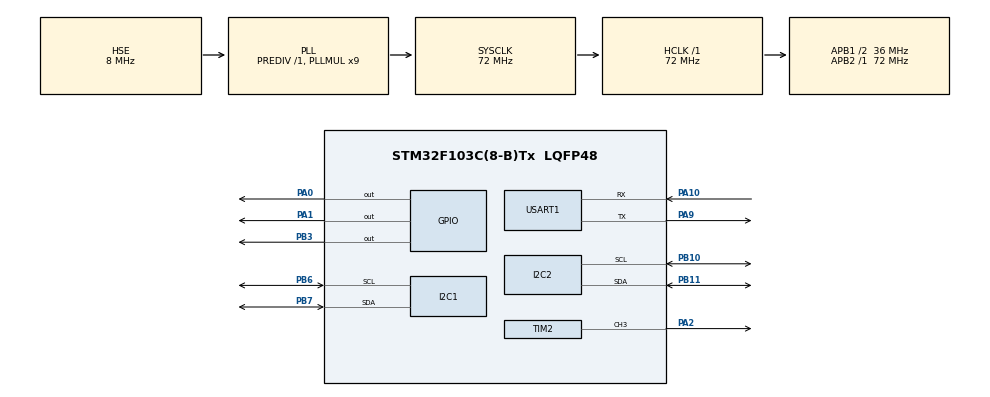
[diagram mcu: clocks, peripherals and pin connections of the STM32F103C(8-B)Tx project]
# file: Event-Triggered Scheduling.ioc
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I2C2.I2C_Mode=I2C_Fast
Mcu.Family=STM32F1
Mcu.Name=STM32F103C(8-B)Tx
Mcu.Package=LQFP48
NVIC.PriorityGroup=NVIC_PRIORITYGROUP_4
NVIC.TIM1_UP_IRQn=true\:0\:0\:false\:false\:true\:true\:true\:true
NVIC.USART1_IRQn=true\:0\:0\:false\:false\:true\:true\:true\:true
PA0-WKUP.Signal=GPIO_Output
PA1.Signal=GPIO_Output
PA10.Mode=Asynchronous
PA10.Signal=USART1_RX
PA13.Mode=Serial_Wire
PA13.Signal=SYS_JTMS-SWDIO
PA14.Mode=Serial_Wire
PA14.Signal=SYS_JTCK-SWCLK
PA2.Signal=S_TIM2_CH3
PA9.Mode=Asynchronous
PA9.Signal=USART1_TX
PB10.Mode=I2C
PB10.Signal=I2C2_SCL
PB11.Mode=I2C
PB11.Signal=I2C2_SDA
PB3.GPIO_PuPd=GPIO_PULLUP
PB3.Signal=GPIO_Output
PB6.Mode=I2C
PB6.Signal=I2C1_SCL
PB7.Mode=I2C
PB7.Signal=I2C1_SDA
PD0-OSC_IN.Mode=HSE-External-Oscillator
PD0-OSC_IN.Signal=RCC_OSC_IN
PD1-OSC_OUT.Mode=HSE-External-Oscillator
PD1-OSC_OUT.Signal=RCC_OSC_OUT
ProjectManager.HeapSize=0x200
ProjectManager.StackSize=0x400
ProjectManager.TargetToolchain=STM32CubeIDE
RCC.AHBFreq_Value=72000000
RCC.APB1CLKDivider=RCC_HCLK_DIV2
RCC.APB1Freq_Value=36000000
RCC.APB1TimFreq_Value=72000000
RCC.APB2Freq_Value=72000000
RCC.APB2TimFreq_Value=72000000
RCC.HCLKFreq_Value=72000000
RCC.PLLMUL=RCC_PLL_MUL9
RCC.PLLSourceVirtual=RCC_PLLSOURCE_HSE
RCC.SYSCLKFreq_VALUE=72000000
RCC.SYSCLKSource=RCC_SYSCLKSOURCE_PLLCLK
RCC.USBFreq_Value=72000000
SH.S_TIM2_CH3.0=TIM2_CH3,PWM Generation3 CH3
TIM1.Period=9
TIM1.Prescaler=7199
TIM2.Channel-PWM\ Generation3\ CH3=TIM_CHANNEL_3
TIM2.Period=100
TIM2.Prescaler=72-1
USART1.VirtualMode=VM_ASYNC
VP_TIM1_VS_ClockSourceINT.Mode=Internal
board=custom

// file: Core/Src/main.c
/* USER CODE BEGIN Header */
/**
  ******************************************************************************
  * @file           : main.c
  * @brief          : Main program body
  ******************************************************************************
  * @attention
  *
  * Copyright (c) 2025 STMicroelectronics.
  * All rights reserved.
  *
  * This software is licensed under terms that can be found in the LICENSE file
  * in the root directory of this software component.
  * If no LICENSE file comes with this software, it is provided AS-IS.
  *
  ******************************************************************************
  */
/* USER CODE END Header */
#include "main.h"

/* USER CODE BEGIN Includes */
#include "string.h"
#include "stdio.h"
#include "stdlib.h"
#include "i2c_lcd.h"
#include "aht10.h"
/* USER CODE END Includes */

I2C_HandleTypeDef hi2c1;
I2C_HandleTypeDef hi2c2;

TIM_HandleTypeDef htim1;
TIM_HandleTypeDef htim2;

UART_HandleTypeDef huart1;

/* USER CODE BEGIN PV */
AHT10_HandleTypeDef aht10;
I2C_LCD_HandleTypeDef lcd;

char command_buffer[64];
volatile uint8_t command_ready = 0;
uint8_t rx_byte;  // byte nhận qua UART

// Motor control
//Biến toàn cục lưu trạng thái điều khiển
typedef enum { OFF = 0, ON = 1 } MotorPower;
typedef enum { CW = 0, CCW = 1 } MotorDirection;
typedef enum { DISPLAY_ALL, DISPLAY_TEMP, DISPLAY_HUMID } DisplayMode;

volatile MotorPower motor_power = OFF;
volatile MotorDirection motor_dir = CW;
volatile uint8_t motor_speed = 0;
volatile DisplayMode display_mode = DISPLAY_ALL;

float temperature = 0.0f;
float humidity = 0.0f;

// biến cho event triggered scheduling
volatile uint8_t uart_event = 0;
volatile uint8_t sensor_event = 0;
volatile uint8_t lcd_event = 0;
volatile uint8_t uart_tx_event = 0;
volatile uint8_t motor_event = 0;
volatile uint32_t ms_ticks = 0;
/* USER CODE END PV */

void SystemClock_Config(void);
static void MX_GPIO_Init(void);
static void MX_I2C1_Init(void);
static void MX_I2C2_Init(void);
static void MX_TIM2_Init(void);
static void MX_USART1_UART_Init(void);
static void MX_TIM1_Init(void);
/* USER CODE BEGIN PFP */
//Xử lí lệnh UART
void parse_command(char *cmd) {
	if (strncmp(cmd, "!motor ", 7) == 0) {
		if (strstr(cmd, "on"))
			motor_power = ON;
		else if (strstr(cmd, "off"))
			motor_power = OFF;
	} else if (strncmp(cmd, "!rotate ", 8) == 0) {
		if (strstr(cmd, "ccw"))
			motor_dir = CCW;
		else if (strstr(cmd, "cw"))
			motor_dir = CW;
	} else if (strncmp(cmd, "!speed ", 7) == 0) {
		int val = atoi(&cmd[7]);
		if (val >= 0 && val <= 100)
			motor_speed = val;
	} else if (strncmp(command_buffer, "!display ", 9) == 0) {
		if (strstr(command_buffer, "all"))
			display_mode = DISPLAY_ALL;
		else if (strstr(command_buffer, "temp"))
			display_mode = DISPLAY_TEMP;
		else if (strstr(command_buffer, "humid"))
			display_mode = DISPLAY_HUMID;
	}

	// Phản hồi trạng thái
	char msg[64];
	sprintf(msg, "Motor: %s, Dir: %s, Speed: %d, Display: %s\r\n",
			(motor_power == ON) ? "ON" : "OFF",
			(motor_dir == CW) ? "CW" : "CCW", motor_speed,
			(display_mode == DISPLAY_ALL) ? "ALL" :
			(display_mode == DISPLAY_TEMP) ? "TEMP" : "HUMID");

	HAL_UART_Transmit(&huart1, (uint8_t*) msg, strlen(msg), 100);

	memset(command_buffer, 0, sizeof(command_buffer));
}

//Task 1: đọc cảm biến AHT10
void task_sensor(void) {
    uint32_t hum_raw = 0, temp_raw = 0;
    if (AHT10_ReadRaw(&aht10, &hum_raw, &temp_raw)) {
        temperature = AHT10_ReadTemperature(temp_raw);
        humidity = AHT10_ReadHumidity(hum_raw);
    }
}

//Task 2: hiển thị LCD
void task_lcd(void) {
	char lcd_buf[32];
	int ti = (int)temperature;
	int tf = (int)((temperature - ti) * 10);
	int hi = (int)humidity;
	int hf = (int)((humidity - hi) * 10);

	switch (display_mode) {
	case DISPLAY_ALL:
		sprintf(lcd_buf, "Temp: %d.%d C", ti, tf);
		lcd_gotoxy(&lcd, 0, 0);
		lcd_puts(&lcd, lcd_buf);

		sprintf(lcd_buf, "Hum:  %d.%d %%", hi, hf);
		lcd_gotoxy(&lcd, 0, 1);
		lcd_puts(&lcd, lcd_buf);
		break;

	case DISPLAY_TEMP:
		sprintf(lcd_buf, "Temp: %d.%d C", ti, tf);
		lcd_gotoxy(&lcd, 0, 0);
		lcd_puts(&lcd, lcd_buf);

		lcd_gotoxy(&lcd, 0, 1);
		lcd_puts(&lcd, "                "); // Clear dòng 2
		break;

	case DISPLAY_HUMID:
		sprintf(lcd_buf, "Hum:  %d.%d %%", hi, hf);
		lcd_gotoxy(&lcd, 0, 0);
		lcd_puts(&lcd, lcd_buf);

		lcd_gotoxy(&lcd, 0, 1);
		lcd_puts(&lcd, "                "); // Clear dòng 2
		break;
	}
}

//Task 3: gửi UART
void task_uart_tx(void) {
    char buf[64];
    sprintf(buf, "temperature: %.1f C, humidity: %.1f %%\r\n", temperature, humidity);
    HAL_UART_Transmit(&huart1, (uint8_t*)buf, strlen(buf), 100);
}

//Task 4: điều khiển động cơ
void task_motor(void) {
    if (motor_power == ON) {
        // Điều chỉnh chiều quay
        if (motor_dir == CW) {
            HAL_GPIO_WritePin(GPIOA, GPIO_PIN_0, GPIO_PIN_SET);   // IN1
            HAL_GPIO_WritePin(GPIOA, GPIO_PIN_1, GPIO_PIN_RESET); // IN2
        } else {
            HAL_GPIO_WritePin(GPIOA, GPIO_PIN_0, GPIO_PIN_RESET);
            HAL_GPIO_WritePin(GPIOA, GPIO_PIN_1, GPIO_PIN_SET);
        }

        HAL_TIM_PWM_Start(&htim2, TIM_CHANNEL_3);
        // Tốc độ: từ 0 đến 100
        __HAL_TIM_SET_COMPARE(&htim2, TIM_CHANNEL_3, motor_speed);
    } else {
        // Dừng động cơ
        __HAL_TIM_SET_COMPARE(&htim2, TIM_CHANNEL_3, 0);
    }
}

// Hàm systick
void HAL_TIM_PeriodElapsedCallback(TIM_HandleTypeDef *htim)
{
    if (htim->Instance == TIM1)
    {
    	HAL_GPIO_TogglePin(GPIOB, GPIO_PIN_3);
        ms_ticks ++;

        if (ms_ticks % 2000 == 0) sensor_event = 1;
        if (ms_ticks % 500 == 0)  lcd_event = 1;
        if (ms_ticks % 5000 == 0) uart_tx_event = 1;
        if (ms_ticks % 100 == 0)  motor_event = 1;

        if (ms_ticks >= 10000) ms_ticks = 0;  // Reset sau mỗi 10s để tránh tràn số
    }
}
/* USER CODE END PFP */

int main(void)
{

  /* MCU Configuration--------------------------------------------------------*/

  /* Reset of all peripherals, Initializes the Flash interface and the Systick. */
  HAL_Init();

  /* Configure the system clock */
  SystemClock_Config();

  /* Initialize all configured peripherals */
  MX_GPIO_Init();
  MX_I2C1_Init();
  MX_I2C2_Init();
  MX_TIM2_Init();
  MX_USART1_UART_Init();
  MX_TIM1_Init();
  /* USER CODE BEGIN 2 */
  //Khởi tạo uart nhận 1 byte
  	HAL_UART_Receive_IT(&huart1, &rx_byte, 1);

  	//Khởi tạo timmer2 CH3
  	HAL_TIM_PWM_Start(&htim2, TIM_CHANNEL_3);

  	HAL_TIM_Base_Start_IT(&htim1);  // Bắt đầu timer với ngắt

  	//Init LCD
  	lcd.hi2c = &hi2c1;
  	lcd.address = 0x4E;
  	lcd_init(&lcd);
  	lcd_clear(&lcd);

  	//Init AHT10
  	aht10.hi2c = &hi2c2;
  	aht10.address = 0x38 << 1; //AHT10 default address << 1 = 0x38 << 1 = 0x70
  	AHT10_Init(&aht10);
  	HAL_Delay(50);
  /* USER CODE END 2 */

  /* Infinite loop */
  /* USER CODE BEGIN WHILE */
  while (1)
  {

//	  HAL_GPIO_WritePin(GPIOA, GPIO_PIN_0, GPIO_PIN_SET);   // IN1
//	              HAL_GPIO_WritePin(GPIOA, GPIO_PIN_1, GPIO_PIN_RESET);
//	              __HAL_TIM_SET_COMPARE(&htim2, TIM_CHANNEL_3, 100);

		if (uart_event) {
			parse_command(command_buffer);
			uart_event = 0;
		}
		if (sensor_event) {
			task_sensor();
			sensor_event = 0;
		}
		if (lcd_event) {
			task_lcd();
			lcd_event = 0;
		}
		if (uart_tx_event) {
			task_uart_tx();
			uart_tx_event = 0;
		}
		if (motor_event) {
			task_motor();
			motor_event = 0;
		}
    /* USER CODE END WHILE */

  }
}

void SystemClock_Config(void)
{
  RCC_OscInitTypeDef RCC_OscInitStruct = {0};
  RCC_ClkInitTypeDef RCC_ClkInitStruct = {0};

  /** Initializes the RCC Oscillators according to the specified parameters
  * in the RCC_OscInitTypeDef structure.
  */
  RCC_OscInitStruct.OscillatorType = RCC_OSCILLATORTYPE_HSE;
  RCC_OscInitStruct.HSEState = RCC_HSE_ON;
  RCC_OscInitStruct.HSEPredivValue = RCC_HSE_PREDIV_DIV1;
  RCC_OscInitStruct.HSIState = RCC_HSI_ON;
  RCC_OscInitStruct.PLL.PLLState = RCC_PLL_ON;
  RCC_OscInitStruct.PLL.PLLSource = RCC_PLLSOURCE_HSE;
  RCC_OscInitStruct.PLL.PLLMUL = RCC_PLL_MUL9;
  if (HAL_RCC_OscConfig(&RCC_OscInitStruct) != HAL_OK)
  {
    Error_Handler();
  }

  /** Initializes the CPU, AHB and APB buses clocks
  */
  RCC_ClkInitStruct.ClockType = RCC_CLOCKTYPE_HCLK|RCC_CLOCKTYPE_SYSCLK
                              |RCC_CLOCKTYPE_PCLK1|RCC_CLOCKTYPE_PCLK2;
  RCC_ClkInitStruct.SYSCLKSource = RCC_SYSCLKSOURCE_PLLCLK;
  RCC_ClkInitStruct.AHBCLKDivider = RCC_SYSCLK_DIV1;
  RCC_ClkInitStruct.APB1CLKDivider = RCC_HCLK_DIV2;
  RCC_ClkInitStruct.APB2CLKDivider = RCC_HCLK_DIV1;

  if (HAL_RCC_ClockConfig(&RCC_ClkInitStruct, FLASH_LATENCY_2) != HAL_OK)
  {
    Error_Handler();
  }
}

static void MX_I2C1_Init(void)
{

  hi2c1.Instance = I2C1;
  hi2c1.Init.ClockSpeed = 100000;
  hi2c1.Init.DutyCycle = I2C_DUTYCYCLE_2;
  hi2c1.Init.OwnAddress1 = 0;
  hi2c1.Init.AddressingMode = I2C_ADDRESSINGMODE_7BIT;
  hi2c1.Init.DualAddressMode = I2C_DUALADDRESS_DISABLE;
  hi2c1.Init.OwnAddress2 = 0;
  hi2c1.Init.GeneralCallMode = I2C_GENERALCALL_DISABLE;
  hi2c1.Init.NoStretchMode = I2C_NOSTRETCH_DISABLE;
  if (HAL_I2C_Init(&hi2c1) != HAL_OK)
  {
    Error_Handler();
  }

}

static void MX_I2C2_Init(void)
{

  hi2c2.Instance = I2C2;
  hi2c2.Init.ClockSpeed = 400000;
  hi2c2.Init.DutyCycle = I2C_DUTYCYCLE_2;
  hi2c2.Init.OwnAddress1 = 0;
  hi2c2.Init.AddressingMode = I2C_ADDRESSINGMODE_7BIT;
  hi2c2.Init.DualAddressMode = I2C_DUALADDRESS_DISABLE;
  hi2c2.Init.OwnAddress2 = 0;
  hi2c2.Init.GeneralCallMode = I2C_GENERALCALL_DISABLE;
  hi2c2.Init.NoStretchMode = I2C_NOSTRETCH_DISABLE;
  if (HAL_I2C_Init(&hi2c2) != HAL_OK)
  {
    Error_Handler();
  }

}

static void MX_TIM1_Init(void)
{

  TIM_ClockConfigTypeDef sClockSourceConfig = {0};
  TIM_MasterConfigTypeDef sMasterConfig = {0};

  htim1.Instance = TIM1;
  htim1.Init.Prescaler = 7199;
  htim1.Init.CounterMode = TIM_COUNTERMODE_UP;
  htim1.Init.Period = 9;
  htim1.Init.ClockDivision = TIM_CLOCKDIVISION_DIV1;
  htim1.Init.RepetitionCounter = 0;
  htim1.Init.AutoReloadPreload = TIM_AUTORELOAD_PRELOAD_DISABLE;
  if (HAL_TIM_Base_Init(&htim1) != HAL_OK)
  {
    Error_Handler();
  }
  sClockSourceConfig.ClockSource = TIM_CLOCKSOURCE_INTERNAL;
  if (HAL_TIM_ConfigClockSource(&htim1, &sClockSourceConfig) != HAL_OK)
  {
    Error_Handler();
  }
  sMasterConfig.MasterOutputTrigger = TIM_TRGO_RESET;
  sMasterConfig.MasterSlaveMode = TIM_MASTERSLAVEMODE_DISABLE;
  if (HAL_TIMEx_MasterConfigSynchronization(&htim1, &sMasterConfig) != HAL_OK)
  {
    Error_Handler();
  }

}

static void MX_TIM2_Init(void)
{

  TIM_MasterConfigTypeDef sMasterConfig = {0};
  TIM_OC_InitTypeDef sConfigOC = {0};

  htim2.Instance = TIM2;
  htim2.Init.Prescaler = 72-1;
  htim2.Init.CounterMode = TIM_COUNTERMODE_UP;
  htim2.Init.Period = 100;
  htim2.Init.ClockDivision = TIM_CLOCKDIVISION_DIV1;
  htim2.Init.AutoReloadPreload = TIM_AUTORELOAD_PRELOAD_DISABLE;
  if (HAL_TIM_PWM_Init(&htim2) != HAL_OK)
  {
    Error_Handler();
  }
  sMasterConfig.MasterOutputTrigger = TIM_TRGO_RESET;
  sMasterConfig.MasterSlaveMode = TIM_MASTERSLAVEMODE_DISABLE;
  if (HAL_TIMEx_MasterConfigSynchronization(&htim2, &sMasterConfig) != HAL_OK)
  {
    Error_Handler();
  }
  sConfigOC.OCMode = TIM_OCMODE_PWM1;
  sConfigOC.Pulse = 0;
  sConfigOC.OCPolarity = TIM_OCPOLARITY_HIGH;
  sConfigOC.OCFastMode = TIM_OCFAST_DISABLE;
  if (HAL_TIM_PWM_ConfigChannel(&htim2, &sConfigOC, TIM_CHANNEL_3) != HAL_OK)
  {
    Error_Handler();
  }
  HAL_TIM_MspPostInit(&htim2);

}

static void MX_USART1_UART_Init(void)
{

  huart1.Instance = USART1;
  huart1.Init.BaudRate = 115200;
  huart1.Init.WordLength = UART_WORDLENGTH_8B;
  huart1.Init.StopBits = UART_STOPBITS_1;
  huart1.Init.Parity = UART_PARITY_NONE;
  huart1.Init.Mode = UART_MODE_TX_RX;
  huart1.Init.HwFlowCtl = UART_HWCONTROL_NONE;
  huart1.Init.OverSampling = UART_OVERSAMPLING_16;
  if (HAL_UART_Init(&huart1) != HAL_OK)
  {
    Error_Handler();
  }

}

static void MX_GPIO_Init(void)
{
  GPIO_InitTypeDef GPIO_InitStruct = {0};

  /* GPIO Ports Clock Enable */
  __HAL_RCC_GPIOD_CLK_ENABLE();
  __HAL_RCC_GPIOA_CLK_ENABLE();
  __HAL_RCC_GPIOB_CLK_ENABLE();

  /*Configure GPIO pin Output Level */
  HAL_GPIO_WritePin(GPIOA, GPIO_PIN_0|GPIO_PIN_1, GPIO_PIN_RESET);

  /*Configure GPIO pin Output Level */
  HAL_GPIO_WritePin(GPIOB, GPIO_PIN_3, GPIO_PIN_RESET);

  /*Configure GPIO pins : PA0 PA1 */
  GPIO_InitStruct.Pin = GPIO_PIN_0|GPIO_PIN_1;
  GPIO_InitStruct.Mode = GPIO_MODE_OUTPUT_PP;
  GPIO_InitStruct.Pull = GPIO_NOPULL;
  GPIO_InitStruct.Speed = GPIO_SPEED_FREQ_LOW;
  HAL_GPIO_Init(GPIOA, &GPIO_InitStruct);

  /*Configure GPIO pin : PB3 */
  GPIO_InitStruct.Pin = GPIO_PIN_3;
  GPIO_InitStruct.Mode = GPIO_MODE_OUTPUT_PP;
  GPIO_InitStruct.Pull = GPIO_PULLUP;
  GPIO_InitStruct.Speed = GPIO_SPEED_FREQ_LOW;
  HAL_GPIO_Init(GPIOB, &GPIO_InitStruct);

}

/* USER CODE BEGIN 4 */
void HAL_UART_RxCpltCallback(UART_HandleTypeDef *huart) {
	static uint8_t idx = 0;
	if (huart->Instance == USART1) {
		if (rx_byte != '\n' && idx < sizeof(command_buffer) - 1) {
			command_buffer[idx++] = rx_byte;
		} else {
			command_buffer[idx] = '\0';
			idx = 0;
			uart_event = 1;
		}
		HAL_UART_Receive_IT(&huart1, &rx_byte, 1);
	}
}

/* USER CODE END 4 */

void Error_Handler(void)
{
  __disable_irq();
  while (1)
  {
  }
}
